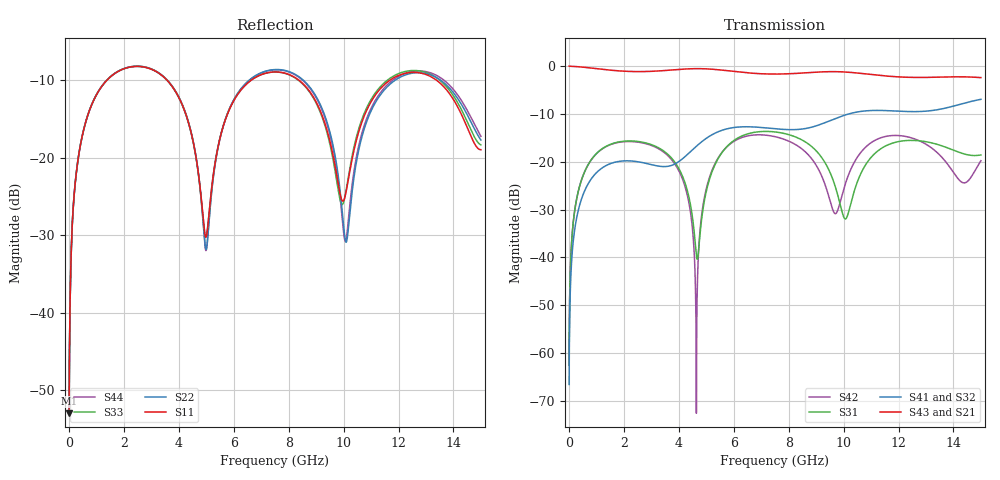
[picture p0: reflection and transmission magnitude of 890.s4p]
! Created with skrf 1.8.0 (http://scikit-rf.org).
# GHz S RI R 50.0
!freq ReS11 ImS11 ReS12 ImS12 ReS13 ImS13
! ReS14 ImS14
! ReS21 ImS21 ReS22 ImS22 ReS23 ImS23
! ReS24 ImS24
! ReS31 ImS31 ReS32 ImS32 ReS33 ImS33
! ReS34 ImS34
! ReS41 ImS41 ReS42 ImS42 ReS43 ImS43
! ReS44 ImS44
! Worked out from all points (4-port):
!   2499 points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, 5 MHz to 15 GHz, reference 50 ohm
!   strongest paths, dB at 5 MHz, 3.476 GHz, 7.19 GHz, 11.1 GHz, 15 GHz:
!     S43: 0.0, -0.9, -1.6, -1.8, -2.4
!     S21: 0.0, -0.9, -1.6, -1.8, -2.4
!     S41: -66.6, -21.0, -12.9, -9.3, -7.0
!     S32: -66.6, -21.0, -13.0, -9.3, -6.9
!     S31: -62.6, -17.9, -13.7, -18.5, -18.6
!     S42: -62.6, -18.1, -14.5, -15.7, -19.8
!   lowest |S11| = -53.0 dB at 5 MHz (marker M1), VSWR 1.00, Z = 50.2 + j0.136 ohm
!   |S11| at or under -10 dB: 3.578 GHz to 6.626 GHz (3.048 GHz wide, 59.7 % of centre); 8.383 GHz to 11.68 GHz (3.295 GHz wide, 32.9 % of centre); 13.39 GHz to end of sweep (the widest 3 of 4)
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0.005  0.00179 0.00136  0.9982 -0.00349  9.16e-05 0.000739  -8.87e-05 -0.000459
       0.9982 -0.00349  0.00179 0.00136  -8.87e-05 -0.000459  9.15e-05 0.000739
       9.16e-05 0.000739  -8.87e-05 -0.000459  0.00179 0.00136  0.9982 -0.00349
       -8.87e-05 -0.000459  9.15e-05 0.000739  0.9982 -0.00349  0.00179 0.00136
1.469362  0.2797 0.1726  0.525 -0.7422  0.1385 0.0586  -0.0945 -0.00184
          0.525 -0.7422  0.281 0.1716  -0.0945 -0.0019  0.1352 0.0634
          0.1385 0.0586  -0.0945 -0.0019  0.2797 0.1725  0.5251 -0.7422
          -0.0945 -0.00184  0.1352 0.0634  0.5251 -0.7422  0.2809 0.1716
3.939141  0.1832 -0.1805  -0.66 -0.6402  0.0411 -0.0811  -0.0462 0.086
          -0.66 -0.6402  0.1802 -0.1858  -0.0466 0.0857  0.0517 -0.0695
          0.0411 -0.0811  -0.0466 0.0857  0.1828 -0.1801  -0.6602 -0.6403
          -0.0462 0.086  0.0517 -0.0695  -0.6602 -0.6403  0.1797 -0.1853
4.639433  0.0488 -0.0849  -0.8953 -0.2877  -0.00939 -0.00481  -0.0395 0.1396
          -0.8953 -0.2877  0.0439 -0.0883  -0.0402 0.1394  -0.000232 2.41e-05
          -0.00939 -0.00481  -0.0402 0.1394  0.0487 -0.084  -0.8954 -0.2876
          -0.0395 0.1396  -0.000232 2.41e-05  -0.8954 -0.2876  0.0434 -0.0875
5.864944  0.1443 0.1521  -0.7825 0.4197  0.1232 0.0936  0.1383 0.1766
          -0.7825 0.4197  0.1436 0.1554  0.1374 0.177  0.1146 0.1011
          0.1232 0.0936  0.1374 0.177  0.145 0.1524  -0.7826 0.4194
          0.1383 0.1766  0.1146 0.1011  -0.7826 0.4194  0.1431 0.1561
10.12922  0.0557 0.0345  0.8607 0.0827  -0.0151 0.022  0.0181 -0.312
          0.8607 0.0827  0.0291 0.00738  0.0218 -0.3115  0.053 0.0405
          -0.0151 0.022  0.0218 -0.3115  0.0536 0.0415  0.8606 0.082
          0.0181 -0.312  0.053 0.0405  0.8606 0.082  0.0299 0.0144
15  0.113 0.000196  -0.728 -0.2139  -0.087 0.0792  -0.1248 0.4313
    -0.728 -0.2139  0.1226 -0.0448  -0.131 0.4297  -0.00716 0.1021
    -0.087 0.0792  -0.131 0.4297  0.1209 -0.0114  -0.7239 -0.2243
    -0.1248 0.4313  -0.00716 0.1021  -0.7239 -0.2243  0.1242 -0.0597
